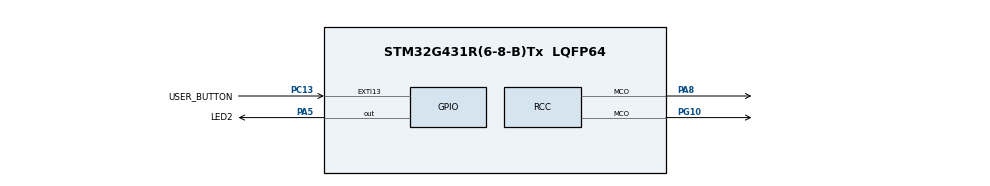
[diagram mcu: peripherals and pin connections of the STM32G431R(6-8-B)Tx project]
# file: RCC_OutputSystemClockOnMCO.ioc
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Mcu.Family=STM32G4
Mcu.Name=STM32G431R(6-8-B)Tx
Mcu.Package=LQFP64
NVIC.EXTI15_10_IRQn=true\:3\:0\:true\:false\:true\:true\:true\:true
NVIC.PriorityGroup=NVIC_PRIORITYGROUP_4
PA5.GPIO_Label=LED2
PA5.Signal=GPIO_Output
PA8.GPIO_PuPd=GPIO_NOPULL
PA8.GPIO_Speed=GPIO_SPEED_FREQ_HIGH
PA8.Mode=Clock-out
PA8.Signal=RCC_MCO
PC13.GPIO_Label=USER_BUTTON
PC13.GPIO_ModeDefaultEXTI=GPIO_MODE_IT_FALLING
PC13.GPIO_PuPd=GPIO_NOPULL
PC13.Signal=GPXTI13
PF0-OSC_IN.Mode=HSE-External-Oscillator
PF0-OSC_IN.Signal=RCC_OSC_IN
PF1-OSC_OUT.Mode=HSE-External-Oscillator
PF1-OSC_OUT.Signal=RCC_OSC_OUT
PG10-NRST.Mode=Clock-out
PG10-NRST.Signal=RCC_MCO
ProjectManager.HeapSize=0x200
ProjectManager.StackSize=0x400
ProjectManager.TargetToolchain=EWARM V8.32
RCC.ADC12Freq_Value=170000000
RCC.AHBFreq_Value=170000000
RCC.APB1Freq_Value=170000000
RCC.APB1TimFreq_Value=170000000
RCC.APB2Freq_Value=170000000
RCC.APB2TimFreq_Value=170000000
RCC.CortexFreq_Value=170000000
RCC.EXTERNAL_CLOCK_VALUE=12288000
RCC.HCLKFreq_Value=170000000
RCC.HSE_VALUE=24000000
RCC.HSI48_VALUE=48000000
RCC.HSI_VALUE=16000000
RCC.LSE_VALUE=32768
RCC.PLLM=RCC_PLLM_DIV4
RCC.PLLN=85
RCC.RCC_MCO1Source=RCC_MCO1SOURCE_HSE
RCC.RCC_MCODiv=RCC_MCODIV_2
RCC.SYSCLKFreq_VALUE=170000000
RCC.SYSCLKSource=RCC_SYSCLKSOURCE_PLLCLK
RCC.USBFreq_Value=170000000
RCC.VCOOutputFreq_Value=340000000
VP_SYS_VS_DBSignals.Mode=DisableDeadBatterySignals
board=custom

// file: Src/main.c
/* USER CODE BEGIN Header */
/**
  ******************************************************************************
  * @file    Examples_LL/RCC/RCC_OutputSystemClockOnMCO/Src/main.c
  * @author  MCD Application Team
  * @brief   This example describes how to how to configure MCO pin to output
  *          the system clock through the STM32G4xx RCC LL API.
  ******************************************************************************
  * @attention
  *
  * Copyright (c) 2019 STMicroelectronics.
  * All rights reserved.
  *
  * This software is licensed under terms that can be found in the LICENSE file
  * in the root directory of this software component.
  * If no LICENSE file comes with this software, it is provided AS-IS.
  *
  ******************************************************************************
  */
/* USER CODE END Header */
#include "main.h"

/* USER CODE BEGIN PTD */
/* Structure based on parameters used for MCO config */
typedef struct
{
  uint32_t Source;          /*!< Source of the MCO output */
  uint32_t Prescaler;       /*!< Prescaler applied to MCO output */
} RCC_MCO_ConfigTypeDef;

__IO uint8_t ubButtonPress = 0;
/* USER CODE END PTD */

/* USER CODE BEGIN PD */

/* Number of MCO Config */
#define RCC_MCO_CONFIG_NB   3

/* USER CODE END PD */

/* USER CODE BEGIN PV */

/* Variable to set different MCO config */
static RCC_MCO_ConfigTypeDef aMCO_Config[RCC_MCO_CONFIG_NB] =
{
  {LL_RCC_MCO1SOURCE_HSI, LL_RCC_MCO1_DIV_1},
  {LL_RCC_MCO1SOURCE_PLLCLK, LL_RCC_MCO1_DIV_16},
  {LL_RCC_MCO1SOURCE_HSE, LL_RCC_MCO1_DIV_2}
};

/* MCO Config index */
__IO uint8_t bMCOIndex = 0;

/* USER CODE END PV */

void SystemClock_Config(void);
static void MX_GPIO_Init(void);

int main(void)
{

  /* MCU Configuration--------------------------------------------------------*/

  /* Reset of all peripherals, Initializes the Flash interface and the Systick. */

  LL_APB2_GRP1_EnableClock(LL_APB2_GRP1_PERIPH_SYSCFG);
  LL_APB1_GRP1_EnableClock(LL_APB1_GRP1_PERIPH_PWR);

  NVIC_SetPriorityGrouping(NVIC_PRIORITYGROUP_4);

  /* System interrupt init*/

  /** Disable the internal Pull-Up in Dead Battery pins of UCPD peripheral
  */
  LL_PWR_DisableUCPDDeadBattery();

  /* Configure the system clock */
  SystemClock_Config();

  /* Initialize all configured peripherals */
  MX_GPIO_Init();

  /* Infinite loop */
  while (1)
  {

    /* USER CODE BEGIN 3 */
    /* All the process are managed in UserButton_Callback function */
    /* Each time, user press user-button, a new MCO config is set */

  }
  /* USER CODE END 3 */
}

void SystemClock_Config(void)
{
  LL_FLASH_SetLatency(LL_FLASH_LATENCY_4);
  while(LL_FLASH_GetLatency() != LL_FLASH_LATENCY_4)
  {
  }
  LL_PWR_EnableRange1BoostMode();
  LL_RCC_HSE_Enable();
   /* Wait till HSE is ready */
  while(LL_RCC_HSE_IsReady() != 1)
  {
  }

  LL_RCC_HSI_Enable();
   /* Wait till HSI is ready */
  while(LL_RCC_HSI_IsReady() != 1)
  {
  }

  LL_RCC_HSI_SetCalibTrimming(64);
  LL_RCC_PLL_ConfigDomain_SYS(LL_RCC_PLLSOURCE_HSI, LL_RCC_PLLM_DIV_4, 85, LL_RCC_PLLR_DIV_2);
  LL_RCC_PLL_EnableDomain_SYS();
  LL_RCC_PLL_Enable();
   /* Wait till PLL is ready */
  while(LL_RCC_PLL_IsReady() != 1)
  {
  }

  LL_RCC_SetSysClkSource(LL_RCC_SYS_CLKSOURCE_PLL);
  LL_RCC_SetAHBPrescaler(LL_RCC_SYSCLK_DIV_2);
   /* Wait till System clock is ready */
  while(LL_RCC_GetSysClkSource() != LL_RCC_SYS_CLKSOURCE_STATUS_PLL)
  {
  }

  /* Insure 1µs transition state at intermediate medium speed clock based on DWT */
  CoreDebug->DEMCR |= CoreDebug_DEMCR_TRCENA_Msk;
  DWT->CTRL |= DWT_CTRL_CYCCNTENA_Msk;
  DWT->CYCCNT = 0;
  while(DWT->CYCCNT < 100);
  /* Set AHB prescaler*/
  LL_RCC_SetAHBPrescaler(LL_RCC_SYSCLK_DIV_1);
  LL_RCC_SetAPB1Prescaler(LL_RCC_APB1_DIV_1);
  LL_RCC_SetAPB2Prescaler(LL_RCC_APB2_DIV_1);

  LL_Init1msTick(170000000);

  LL_SetSystemCoreClock(170000000);
  LL_RCC_ConfigMCO(LL_RCC_MCO1SOURCE_HSE, LL_RCC_MCO1_DIV_2);
}

static void MX_GPIO_Init(void)
{
  LL_EXTI_InitTypeDef EXTI_InitStruct = {0};
  LL_GPIO_InitTypeDef GPIO_InitStruct = {0};

  /* GPIO Ports Clock Enable */
  LL_AHB2_GRP1_EnableClock(LL_AHB2_GRP1_PERIPH_GPIOC);
  LL_AHB2_GRP1_EnableClock(LL_AHB2_GRP1_PERIPH_GPIOF);
  LL_AHB2_GRP1_EnableClock(LL_AHB2_GRP1_PERIPH_GPIOG);
  LL_AHB2_GRP1_EnableClock(LL_AHB2_GRP1_PERIPH_GPIOA);

  /**/
  LL_GPIO_ResetOutputPin(LED2_GPIO_Port, LED2_Pin);

  /**/
  LL_SYSCFG_SetEXTISource(LL_SYSCFG_EXTI_PORTC, LL_SYSCFG_EXTI_LINE13);

  /**/
  EXTI_InitStruct.Line_0_31 = LL_EXTI_LINE_13;
  EXTI_InitStruct.LineCommand = ENABLE;
  EXTI_InitStruct.Mode = LL_EXTI_MODE_IT;
  EXTI_InitStruct.Trigger = LL_EXTI_TRIGGER_FALLING;
  LL_EXTI_Init(&EXTI_InitStruct);

  /**/
  LL_GPIO_SetPinPull(USER_BUTTON_GPIO_Port, USER_BUTTON_Pin, LL_GPIO_PULL_NO);

  /**/
  LL_GPIO_SetPinMode(USER_BUTTON_GPIO_Port, USER_BUTTON_Pin, LL_GPIO_MODE_INPUT);

  /**/
  GPIO_InitStruct.Pin = LL_GPIO_PIN_10;
  GPIO_InitStruct.Mode = LL_GPIO_MODE_ALTERNATE;
  GPIO_InitStruct.Speed = LL_GPIO_SPEED_FREQ_LOW;
  GPIO_InitStruct.OutputType = LL_GPIO_OUTPUT_PUSHPULL;
  GPIO_InitStruct.Pull = LL_GPIO_PULL_NO;
  GPIO_InitStruct.Alternate = LL_GPIO_AF_0;
  LL_GPIO_Init(GPIOG, &GPIO_InitStruct);

  /**/
  GPIO_InitStruct.Pin = LED2_Pin;
  GPIO_InitStruct.Mode = LL_GPIO_MODE_OUTPUT;
  GPIO_InitStruct.Speed = LL_GPIO_SPEED_FREQ_LOW;
  GPIO_InitStruct.OutputType = LL_GPIO_OUTPUT_PUSHPULL;
  GPIO_InitStruct.Pull = LL_GPIO_PULL_NO;
  LL_GPIO_Init(LED2_GPIO_Port, &GPIO_InitStruct);

  /**/
  GPIO_InitStruct.Pin = LL_GPIO_PIN_8;
  GPIO_InitStruct.Mode = LL_GPIO_MODE_ALTERNATE;
  GPIO_InitStruct.Speed = LL_GPIO_SPEED_FREQ_HIGH;
  GPIO_InitStruct.OutputType = LL_GPIO_OUTPUT_PUSHPULL;
  GPIO_InitStruct.Pull = LL_GPIO_PULL_NO;
  GPIO_InitStruct.Alternate = LL_GPIO_AF_0;
  LL_GPIO_Init(GPIOA, &GPIO_InitStruct);

  /* EXTI interrupt init*/
  NVIC_SetPriority(EXTI15_10_IRQn, NVIC_EncodePriority(NVIC_GetPriorityGrouping(),3, 0));
  NVIC_EnableIRQ(EXTI15_10_IRQn);

}

/* USER CODE BEGIN 4 */

/******************************************************************************/
/*   USER IRQ HANDLER TREATMENT                                               */
/******************************************************************************/
/**
  * @brief  Function to manage User button press
  * @param  None
  * @retval None
  */
void UserButton_Callback(void)
{
  register uint32_t source = 0, prescaler = 0;

  /* Get the MCO config to apply */
  source = aMCO_Config[bMCOIndex].Source;
  prescaler = aMCO_Config[bMCOIndex].Prescaler;

  /* Toggle LED2 to indicate a button press*/
  LL_GPIO_TogglePin(LED2_GPIO_Port, LED2_Pin);
  ubButtonPress = 1;

  /* Select MCO clock source and prescaler */
  LL_RCC_ConfigMCO(source, prescaler);

  /* Set new MCO config Index */
  bMCOIndex = (bMCOIndex + 1) % RCC_MCO_CONFIG_NB;
}

/* USER CODE END 4 */

void Error_Handler(void)
{
}
